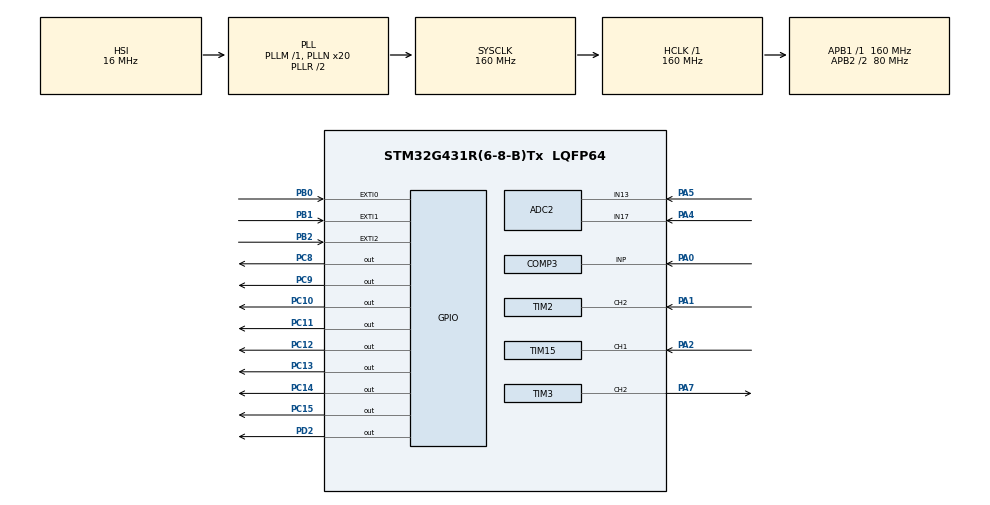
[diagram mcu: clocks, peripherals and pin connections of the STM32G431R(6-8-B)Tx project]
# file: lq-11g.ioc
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ADC2.Channel-0\#ChannelRegularConversion=ADC_CHANNEL_17
ADC2.Channel-1\#ChannelRegularConversion=ADC_CHANNEL_13
ADC2.ContinuousConvMode=DISABLE
ADC2.EOCSelection=ADC_EOC_SEQ_CONV
ADC2.ExternalTrigConv=ADC_SOFTWARE_START
ADC2.NbrOfConversion=2
ADC2.NbrOfConversionFlag=1
ADC2.OffsetNumber-0\#ChannelRegularConversion=ADC_OFFSET_NONE
ADC2.OffsetNumber-1\#ChannelRegularConversion=ADC_OFFSET_NONE
ADC2.Rank-0\#ChannelRegularConversion=1
ADC2.Rank-1\#ChannelRegularConversion=2
ADC2.SamplingTime-0\#ChannelRegularConversion=ADC_SAMPLETIME_2CYCLES_5
ADC2.SamplingTime-1\#ChannelRegularConversion=ADC_SAMPLETIME_2CYCLES_5
COMP3.TriggerMode=COMP_TRIGGERMODE_IT_FALLING
Dma.ADC2.0.Direction=DMA_PERIPH_TO_MEMORY
Dma.ADC2.0.EventEnable=DISABLE
Dma.ADC2.0.Instance=DMA1_Channel1
Dma.ADC2.0.MemDataAlignment=DMA_MDATAALIGN_WORD
Dma.ADC2.0.MemInc=DMA_MINC_ENABLE
Dma.ADC2.0.Mode=DMA_CIRCULAR
Dma.ADC2.0.PeriphDataAlignment=DMA_PDATAALIGN_HALFWORD
Dma.ADC2.0.PeriphInc=DMA_PINC_DISABLE
Dma.ADC2.0.Polarity=HAL_DMAMUX_REQ_GEN_RISING
Dma.ADC2.0.Priority=DMA_PRIORITY_LOW
Dma.ADC2.0.RequestNumber=1
Dma.ADC2.0.SignalID=NONE
Dma.ADC2.0.SyncEnable=DISABLE
Dma.ADC2.0.SyncPolarity=HAL_DMAMUX_SYNC_NO_EVENT
Dma.ADC2.0.SyncRequestNumber=1
Dma.ADC2.0.SyncSignalID=NONE
Dma.Request0=ADC2
Mcu.Family=STM32G4
Mcu.Name=STM32G431R(6-8-B)Tx
Mcu.Package=LQFP64
NVIC.ADC1_2_IRQn=true\:3\:0\:true\:false\:true\:true\:true\:true
NVIC.COMP1_2_3_IRQn=true\:3\:0\:true\:false\:true\:false\:true\:true
NVIC.DMA1_Channel1_IRQn=true\:3\:0\:true\:false\:true\:false\:true\:true
NVIC.EXTI0_IRQn=true\:3\:0\:true\:false\:true\:true\:true\:true
NVIC.EXTI1_IRQn=true\:3\:0\:true\:false\:true\:true\:true\:true
NVIC.EXTI2_IRQn=true\:3\:0\:true\:false\:true\:true\:true\:true
NVIC.PriorityGroup=NVIC_PRIORITYGROUP_4
NVIC.TIM1_BRK_TIM15_IRQn=true\:3\:0\:true\:false\:true\:true\:true\:true
NVIC.TIM2_IRQn=true\:3\:0\:true\:false\:true\:true\:true\:true
NVIC.TIM4_IRQn=true\:0\:0\:false\:false\:true\:true\:true\:true
PA0.Mode=INP
PA0.Signal=COMP3_INP
PA1.Signal=S_TIM2_CH2
PA13.Mode=Serial_Wire
PA13.Signal=SYS_JTMS-SWDIO
PA14.Mode=Serial_Wire
PA14.Signal=SYS_JTCK-SWCLK
PA2.Signal=S_TIM15_CH1
PA4.Mode=IN17-Single-Ended
PA4.Signal=ADC2_IN17
PA5.Mode=IN13-Single-Ended
PA5.Signal=ADC2_IN13
PA7.Signal=S_TIM3_CH2
PB0.Signal=GPXTI0
PB1.Signal=GPXTI1
PB2.Signal=GPXTI2
PC10.GPIO_ModeDefaultOutputPP=GPIO_MODE_OUTPUT_PP
PC10.GPIO_PuPd=GPIO_NOPULL
PC10.GPIO_Speed=GPIO_SPEED_FREQ_LOW
PC10.PinState=GPIO_PIN_RESET
PC10.Signal=GPIO_Output
PC11.GPIO_ModeDefaultOutputPP=GPIO_MODE_OUTPUT_PP
PC11.GPIO_PuPd=GPIO_NOPULL
PC11.GPIO_Speed=GPIO_SPEED_FREQ_LOW
PC11.PinState=GPIO_PIN_RESET
PC11.Signal=GPIO_Output
PC12.GPIO_ModeDefaultOutputPP=GPIO_MODE_OUTPUT_PP
PC12.GPIO_PuPd=GPIO_NOPULL
PC12.GPIO_Speed=GPIO_SPEED_FREQ_LOW
PC12.PinState=GPIO_PIN_RESET
PC12.Signal=GPIO_Output
PC13.GPIO_ModeDefaultOutputPP=GPIO_MODE_OUTPUT_PP
PC13.GPIO_PuPd=GPIO_NOPULL
PC13.GPIO_Speed=GPIO_SPEED_FREQ_LOW
PC13.PinState=GPIO_PIN_RESET
PC13.Signal=GPIO_Output
PC14-OSC32_IN.GPIO_ModeDefaultOutputPP=GPIO_MODE_OUTPUT_PP
PC14-OSC32_IN.GPIO_PuPd=GPIO_NOPULL
PC14-OSC32_IN.GPIO_Speed=GPIO_SPEED_FREQ_LOW
PC14-OSC32_IN.PinState=GPIO_PIN_RESET
PC14-OSC32_IN.Signal=GPIO_Output
PC15-OSC32_OUT.GPIO_ModeDefaultOutputPP=GPIO_MODE_OUTPUT_PP
PC15-OSC32_OUT.GPIO_PuPd=GPIO_NOPULL
PC15-OSC32_OUT.GPIO_Speed=GPIO_SPEED_FREQ_LOW
PC15-OSC32_OUT.PinState=GPIO_PIN_RESET
PC15-OSC32_OUT.Signal=GPIO_Output
PC8.GPIO_ModeDefaultOutputPP=GPIO_MODE_OUTPUT_PP
PC8.GPIO_PuPd=GPIO_NOPULL
PC8.GPIO_Speed=GPIO_SPEED_FREQ_LOW
PC8.PinState=GPIO_PIN_RESET
PC8.Signal=GPIO_Output
PC9.GPIO_ModeDefaultOutputPP=GPIO_MODE_OUTPUT_PP
PC9.GPIO_PuPd=GPIO_PULLDOWN
PC9.GPIO_Speed=GPIO_SPEED_FREQ_LOW
PC9.PinState=GPIO_PIN_RESET
PC9.Signal=GPIO_Output
PD2.Signal=GPIO_Output
PF0-OSC_IN.Mode=HSE-External-Oscillator
PF0-OSC_IN.Signal=RCC_OSC_IN
PF1-OSC_OUT.Mode=HSE-External-Oscillator
PF1-OSC_OUT.Signal=RCC_OSC_OUT
ProjectManager.HeapSize=0x200
ProjectManager.StackSize=0x400
ProjectManager.TargetToolchain=MDK-ARM V5
RCC.ADC12Freq_Value=160000000
RCC.AHBFreq_Value=160000000
RCC.APB1Freq_Value=160000000
RCC.APB1TimFreq_Value=160000000
RCC.APB2CLKDivider=RCC_HCLK_DIV2
RCC.APB2Freq_Value=80000000
RCC.APB2TimFreq_Value=160000000
RCC.CortexFreq_Value=160000000
RCC.EXTERNAL_CLOCK_VALUE=12288000
RCC.HCLKFreq_Value=160000000
RCC.HSE_VALUE=8000000
RCC.HSI48_VALUE=48000000
RCC.HSI_VALUE=16000000
RCC.LSE_VALUE=32768
RCC.PLLN=20
RCC.SYSCLKFreq_VALUE=160000000
RCC.SYSCLKSource=RCC_SYSCLKSOURCE_PLLCLK
RCC.USBFreq_Value=160000000
RCC.VCOOutputFreq_Value=320000000
SH.S_TIM15_CH1.0=TIM15_CH1,TriggerSource_TI1FP1
SH.S_TIM15_CH1.1=TIM15_CH1,Input_Capture1_from_TI1
SH.S_TIM2_CH2.0=TIM2_CH2,TriggerSource_TI2FP2
SH.S_TIM2_CH2.1=TIM2_CH2,Input_Capture2_from_TI2
SH.S_TIM3_CH2.0=TIM3_CH2,PWM Generation2 CH2
TIM15.Channel-Input_Capture1_from_TI1=TIM_CHANNEL_1
TIM15.Prescaler=159
TIM2.Channel-Input_Capture2_from_TI2=TIM_CHANNEL_2
TIM2.Prescaler=159
TIM3.Channel-PWM\ Generation2\ CH2=TIM_CHANNEL_2
TIM3.Prescaler=159
TIM4.AutoReloadPreload=TIM_AUTORELOAD_PRELOAD_ENABLE
TIM4.Channel-PWM\ Generation1\ No\ Output=TIM_CHANNEL_1
TIM4.PeriodNoDither=999
TIM4.Prescaler=159
TIM4.TIM_MasterOutputTrigger=TIM_TRGO_RESET
TIM4.TIM_MasterSlaveMode=TIM_MASTERSLAVEMODE_DISABLE
VP_COMP3_VS_VREFINT.Mode=VREFINT
VP_SYS_VS_DBSignals.Mode=DisableDeadBatterySignals
VP_TIM15_VS_ClockSourceINT.Mode=Internal
VP_TIM15_VS_ControllerModeReset.Mode=Reset Mode
VP_TIM2_VS_ClockSourceINT.Mode=Internal
VP_TIM2_VS_ControllerModeReset.Mode=Reset Mode
VP_TIM3_VS_ClockSourceINT.Mode=Internal
VP_TIM4_VS_ClockSourceINT.Mode=Internal
VP_TIM4_VS_no_output1.Mode=PWM Generation1 No Output
board=custom

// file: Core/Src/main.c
/* USER CODE BEGIN Header */
/**
  ******************************************************************************
  * @file           : main.c
  * @brief          : Main program body
  ******************************************************************************
  * @attention
  *
  * Copyright (c) 2023 STMicroelectronics.
  * All rights reserved.
  *
  * This software is licensed under terms that can be found in the LICENSE file
  * in the root directory of this software component.
  * If no LICENSE file comes with this software, it is provided AS-IS.
  *
  ******************************************************************************
  */
/* USER CODE END Header */
#include "main.h"
#include "adc.h"
#include "comp.h"
#include "dma.h"
#include "tim.h"
#include "gpio.h"

/* USER CODE BEGIN Includes */
#include <stdbool.h>
#include <stdarg.h>
#include <stdio.h>
#include "lcd.h"
/* USER CODE END Includes */

/* USER CODE BEGIN PM */

#define ld(x, s) \
	HAL_GPIO_WritePin(GPIOC, 0x80 << x, s); \
	HAL_GPIO_WritePin(GPIOD, GPIO_PIN_2, GPIO_PIN_SET); \
	HAL_GPIO_WritePin(GPIOD, GPIO_PIN_2, GPIO_PIN_RESET)

/* USER CODE END PM */

/* USER CODE BEGIN PV */

uint32_t 	adcBuf[2]	= {0};
uint8_t		fmtBuf[32]	= {0};
uint32_t	ic1			= 0;
uint32_t	ic2			= 0;
uint32_t	*v1			= adcBuf;
uint32_t	*v2			= adcBuf + 1;
uint8_t		vl			= 1;
uint8_t		fl			= 2;
uint8_t		vlt			= 1;
uint8_t		flt			= 2;

bool		ric1		= false;
bool 		ric2		= false;
bool		para		= false;
bool		fol1		= true;

/* USER CODE END PV */

void SystemClock_Config(void);
/* USER CODE BEGIN PFP */

void render(void);
void setF1(void);
void setF2(void);
void setV1(void);
void setV2(void);
void showVl(void);
void showFl(void);
void HAL_TIM_IC_CaptureCallback(TIM_HandleTypeDef *);
void HAL_GPIO_EXTI_Callback(uint16_t);
void HAL_COMP_TriggerCallback(COMP_HandleTypeDef *);
void HAL_ADC_ConvCpltCallback(ADC_HandleTypeDef *);
void HAL_TIM_PeriodElapsedCallback(TIM_HandleTypeDef *);
uint8_t *format(char *fmt, ...);

/* USER CODE END PFP */

int main(void)
{

  /* MCU Configuration--------------------------------------------------------*/

  /* Reset of all peripherals, Initializes the Flash interface and the Systick. */
  HAL_Init();

  /* Configure the system clock */
  SystemClock_Config();

  /* Initialize all configured peripherals */
  MX_GPIO_Init();
  MX_DMA_Init();
  MX_ADC2_Init();
  MX_COMP3_Init();
  MX_TIM2_Init();
  MX_TIM3_Init();
  MX_TIM15_Init();
  MX_TIM4_Init();
  /* USER CODE BEGIN 2 */
  HAL_ADCEx_Calibration_Start(&hadc2, ADC_SINGLE_ENDED);
  HAL_ADC_Start_DMA(&hadc2, adcBuf, 2);

  HAL_TIM_Base_Start_IT(&htim4);
  HAL_TIM_IC_Start_IT(&htim2, TIM_CHANNEL_2);
  HAL_TIM_IC_Start_IT(&htim15, TIM_CHANNEL_1);
  //HAL_TIM_PWM_Start(&htim3, TIM_CHANNEL_2);

  LCD_Init();
  LCD_Clear(Black);
  LCD_SetBackColor(Black);
  LCD_SetTextColor(White);
  render();

  /* USER CODE END 2 */

  /* Infinite loop */
  /* USER CODE BEGIN WHILE */
  while (1)
  {
	  if(ric1) setF1();
	  if(ric2) setF2();
	  setV1();
	  setV2();
    /* USER CODE END WHILE */

  }
}

void SystemClock_Config(void)
{
  RCC_OscInitTypeDef RCC_OscInitStruct = {0};
  RCC_ClkInitTypeDef RCC_ClkInitStruct = {0};

  /** Configure the main internal regulator output voltage
  */
  HAL_PWREx_ControlVoltageScaling(PWR_REGULATOR_VOLTAGE_SCALE1_BOOST);

  /** Initializes the RCC Oscillators according to the specified parameters
  * in the RCC_OscInitTypeDef structure.
  */
  RCC_OscInitStruct.OscillatorType = RCC_OSCILLATORTYPE_HSI;
  RCC_OscInitStruct.HSIState = RCC_HSI_ON;
  RCC_OscInitStruct.HSICalibrationValue = RCC_HSICALIBRATION_DEFAULT;
  RCC_OscInitStruct.PLL.PLLState = RCC_PLL_ON;
  RCC_OscInitStruct.PLL.PLLSource = RCC_PLLSOURCE_HSI;
  RCC_OscInitStruct.PLL.PLLM = RCC_PLLM_DIV1;
  RCC_OscInitStruct.PLL.PLLN = 20;
  RCC_OscInitStruct.PLL.PLLP = RCC_PLLP_DIV2;
  RCC_OscInitStruct.PLL.PLLQ = RCC_PLLQ_DIV2;
  RCC_OscInitStruct.PLL.PLLR = RCC_PLLR_DIV2;
  if (HAL_RCC_OscConfig(&RCC_OscInitStruct) != HAL_OK)
  {
    Error_Handler();
  }

  /** Initializes the CPU, AHB and APB buses clocks
  */
  RCC_ClkInitStruct.ClockType = RCC_CLOCKTYPE_HCLK|RCC_CLOCKTYPE_SYSCLK
                              |RCC_CLOCKTYPE_PCLK1|RCC_CLOCKTYPE_PCLK2;
  RCC_ClkInitStruct.SYSCLKSource = RCC_SYSCLKSOURCE_PLLCLK;
  RCC_ClkInitStruct.AHBCLKDivider = RCC_SYSCLK_DIV1;
  RCC_ClkInitStruct.APB1CLKDivider = RCC_HCLK_DIV1;
  RCC_ClkInitStruct.APB2CLKDivider = RCC_HCLK_DIV2;

  if (HAL_RCC_ClockConfig(&RCC_ClkInitStruct, FLASH_LATENCY_4) != HAL_OK)
  {
    Error_Handler();
  }
}

/* USER CODE BEGIN 4 */

void HAL_GPIO_EXTI_Callback(uint16_t pin) {
	switch(pin) {
		case GPIO_PIN_0: // b1
			HAL_Delay(32);
			if(HAL_GPIO_ReadPin(GPIOB, pin) != GPIO_PIN_RESET) break;
			para = !para;
			render();
			break;
		case GPIO_PIN_1: // b2
			HAL_Delay(32);
			if(HAL_GPIO_ReadPin(GPIOB, pin) != GPIO_PIN_RESET) break;
			//ld(vl, GPIO_PIN_SET);
			if(++vlt == flt) ++vlt;
			if(vlt == 9) vlt = 1;
			//ld(vl, v1 < v2);
			break;
		case GPIO_PIN_2: // b3
			HAL_Delay(32);
			if(HAL_GPIO_ReadPin(GPIOB, pin) != GPIO_PIN_RESET) break;
			//ld(fl, GPIO_PIN_SET);
			if(++flt == vlt) ++flt;
			if(flt == 9) flt = 1;
			//ld(fl, ic1 < ic2);
			break;
	}
}

void HAL_COMP_TriggerCallback(COMP_HandleTypeDef *hcomp) { // b4
	if(hcomp->Instance != COMP3) return;
	HAL_Delay(32);
	if(HAL_COMP_GetOutputLevel(&hcomp3) != COMP_OUTPUT_LEVEL_LOW) return;
	fol1 = !fol1;
	if(fol1) setF1();
	else setF2();
}

void HAL_TIM_IC_CaptureCallback(TIM_HandleTypeDef *htim) {
	if(htim->Instance == TIM2) { // PA1
		ic1 = HAL_TIM_ReadCapturedValue(&htim2, TIM_CHANNEL_2);
		ric1 = true;
		HAL_TIM_IC_Start_IT(&htim2, TIM_CHANNEL_2);
		return;
	}
	if(htim->Instance == TIM15) { // PA2
		ic2 = HAL_TIM_ReadCapturedValue(&htim15, TIM_CHANNEL_1);
		ric2 = true;
		HAL_TIM_IC_Start_IT(&htim15, TIM_CHANNEL_1);
		return;
	}
}

void HAL_ADC_ConvCpltCallback(ADC_HandleTypeDef *hadc) {
//	if(!para && hadc->Instance == ADC2) {
//		setV1();
//		setV2();
//	}
}

void HAL_TIM_PeriodElapsedCallback(TIM_HandleTypeDef *htim) {
	if(htim->Instance == TIM4)
		HAL_ADC_Start_DMA(&hadc2, adcBuf, 2);
}

inline void setF1() {
	ld(fl, ic1 < ic2);
	if(fol1) {
		__HAL_TIM_SET_AUTORELOAD(&htim3, ic1);
		__HAL_TIM_SetCounter(&htim3, 0);
	}
	if(para) return;
	LCD_DisplayStringLine(Line5, format("    F1:%dHz     ", 1000000 / ic1));
}
inline void setF2() {
	ld(fl, ic1 < ic2);
	if(!fol1) {
		__HAL_TIM_SET_AUTORELOAD(&htim3, ic2);
		__HAL_TIM_SetCounter(&htim3, 0);
	}
	if(para) return;
	LCD_DisplayStringLine(Line6, format("    F2:%dHz     ", 1000000 / ic2));
}
inline void setV1() {
	ld(vl, *v1 < *v2);
	if(para) return;
	LCD_DisplayStringLine(Line3, format("    V1:%.1fV    ", *v1 * 3.3 / 4096));
}
inline void setV2() {
	ld(vl, *v1 < *v2);
	if(para) return;
	LCD_DisplayStringLine(Line4, format("    V2:%.1fV    ", *v2 * 3.3 / 4096));
}
inline void showVl() {
	if(!para) return;
	LCD_DisplayStringLine(Line3, format("    VD:LD%1d    ", vl));
}
inline void showFl() {
	if(!para) return;
	LCD_DisplayStringLine(Line4, format("    FD:LD%1d    ", fl));
}

void render() {
	if(para) {
		LCD_DisplayStringLine(Line1, (uint8_t *)"    PARA");
		setV1();
		setV2();
		setF1();
		setF2();
	}
	else {
		LCD_DisplayStringLine(Line1, (uint8_t *)"    DATA");
		if(vlt != vl) {
			ld(vl, 1);
			vl = vlt;
			ld(vl, *v1 > *v2);
		}
		if(flt != fl) {
			ld(fl, 1);
			fl = flt;
			ld(fl, ic1 > ic2);
		}
		showVl();
		showFl();
	}
}

uint8_t *format(char *fmt, ...) {
	va_list ap;
	va_start(ap, fmt);
	vsprintf((char *)fmtBuf, fmt, ap);
	return fmtBuf;
}

/* USER CODE END 4 */

void Error_Handler(void)
{
  __disable_irq();
  while (1)
  {
  }
}
